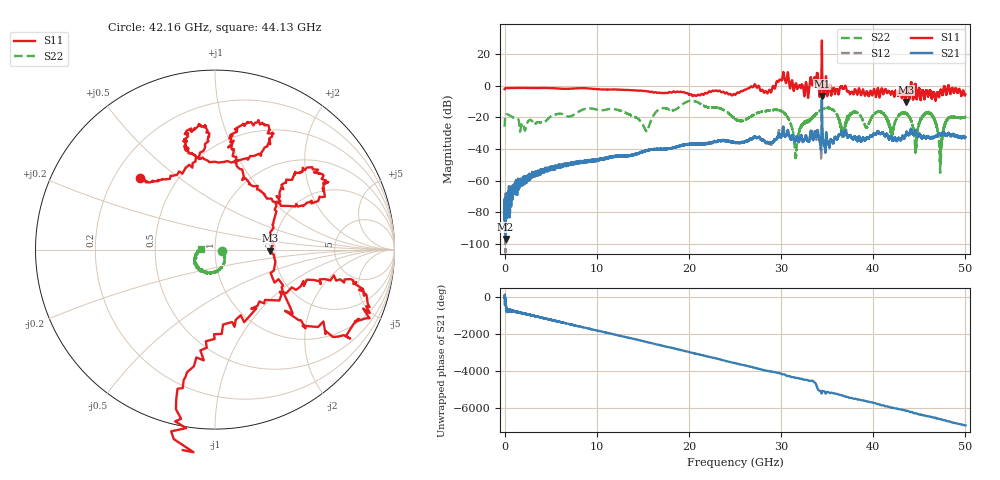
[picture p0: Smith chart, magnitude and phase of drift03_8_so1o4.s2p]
!Created with skrf (http://scikit-rf.org).
# Hz S RI R 50.0
!freq ReS11 ImS11 ReS21 ImS21 ReS12 ImS12 ReS22 ImS22
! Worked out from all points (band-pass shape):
!   10000 points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, 5.3 MHz to 50 GHz, reference 50 ohm
!   highest |S21| = -6.43 dB at 34.43 GHz (marker M1); lowest = -96.8 dB at 110.3 MHz (marker M2)
!   |S21| within 3 dB of the highest: 34.42743 GHz to 34.43394 GHz (6.51 MHz wide, 0.0189 % of centre)
!   lowest |S11| = -10.3 dB at 43.53 GHz (marker M3), VSWR 1.88, Z = 94.1 - j1.36 ohm
!   |S11| at or under -10 dB: 43.51744 GHz to 43.52125 GHz (3.819 MHz wide, 0.00878 % of centre); 43.52782 GHz to 43.53233 GHz (4.509 MHz wide, 0.0104 % of centre)
!   |S22| runs from -55.0 to -9.4 dB; largest |S21 - S12| = 0.16
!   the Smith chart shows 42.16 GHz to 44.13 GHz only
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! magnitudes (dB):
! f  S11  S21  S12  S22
! 5.3 MHz  -2.1  -84.1  -73.8  -25.8
! 110.3 MHz  -1.5  -96.8  -68.1  -18.6
! 2.255 GHz  -1.3  -57.7  -58.3  -27.7
! 8.34 GHz  -1.5  -48.2  -48.5  -15.4
! 12.45 GHz  -2.4  -44.1  -44.4  -15.5
! 15.38 GHz  -3.4  -41.1  -40.9  -28.5
! 16.67 GHz  -4.4  -40.1  -40.0  -15.3
! 20.44 GHz  -6.5  -37.0  -36.7  -9.5
! 25.01 GHz  -5.5  -35.7  -35.8  -21.0
! 29.96 GHz  3.9  -32.6  -32.3  -15.9
! 31.61 GHz  1.5  -33.5  -33.7  -44.2
! 33.34 GHz  2.6  -30.1  -30.5  -20.6
! 34.43 GHz  28.7  -6.4  -8.4  -14.6
! 36.69 GHz  -1.7  -29.9  -30.2  -28.2
! 37.95 GHz  -3.2  -32.2  -32.4  -16.5
! 41.67 GHz  -3.4  -33.6  -33.4  -23.8
! 43.53 GHz  -10.3  -31.1  -31.2  -17.2
! 44.6 GHz  -0.7  -28.7  -28.8  -41.9
! 46.25 GHz  -4.3  -33.0  -32.5  -17.3
! 47.29 GHz  -3.0  -31.2  -30.7  -50.1
! 48.1 GHz  -0.2  -30.2  -30.4  -20.3
! 50 GHz  -5.3  -32.5  -32.5  -19.8
